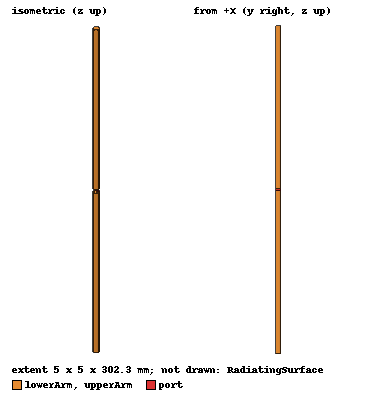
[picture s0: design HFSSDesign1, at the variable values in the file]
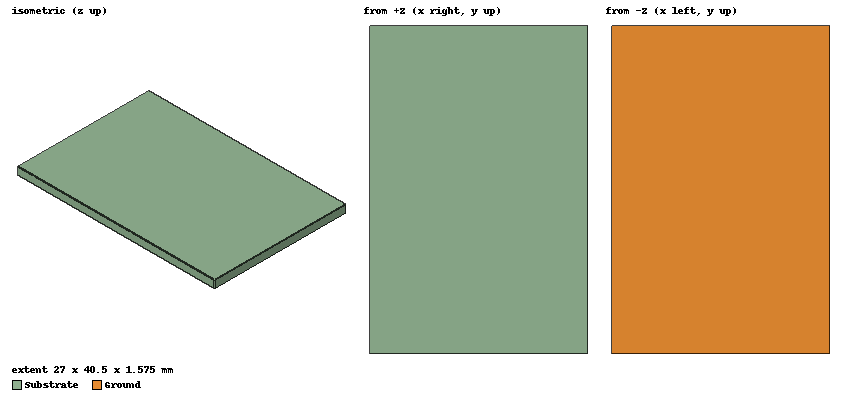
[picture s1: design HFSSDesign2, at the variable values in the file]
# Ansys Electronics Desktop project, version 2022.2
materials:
  vacuum: permittivity=1
  copper: permeability=0.999991 conductivity=58000000
  Duroid (tm): permittivity=2.2 dielectric_loss_tangent=0.0009

design HFSSDesign1 (HFSS, DrivenTerminal, model units mm)
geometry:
  upperArm [copper] = cylinder(axis=Z, base_centre=(0mm, 0mm, 1.25mm), radius=2.5mm, height=149.9mm)
  lowerArm [copper] = upperArm.duplicate_around_axis(axis=Z, angle=180deg, total=2)
  lowerArm.rotate(axis=X, angle=90deg)
  lowerArm.rotate(axis=X, angle=90deg)
  port = rectangle(corner=(0mm, -0.25cm, -0.25cm/2), y_size=2*0.25cm, z_size=0.25cm)
  RadiatingSurface [vacuum] = region(absolute_offset=111.11111mm on all sides)
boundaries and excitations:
  Open1: Radiation Objects=RadiatingSurface
  port_T1: Terminal port=1 Edges=port.edge(z opposite corner) TerminalResistance=50ohm
  1: Lumped Port Faces=port.face Impedance=50ohm
  reference conductors: lowerArm
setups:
  Setup1: HfssDriven Frequency=0.9GHz MaxDeltaS=0.02 MaximumPasses=10 MinimumPasses=1 MinimumConvergedPasses=1 PercentRefinement=30 BasisOrder=1 PortAccuracy=2 DrivenSolverType="Direct Solver"
    sweep Sweep: 0.45GHz to 1.35GHz, 401 points; Type=Interpolating InterpTolerance=0.5 InterpMaxSolns=250 PassivityErrorTolerance=0.0001
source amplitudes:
  1:1: 1V 0deg
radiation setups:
  3D: Infinite Sphere Theta=0deg..180deg step 2deg Phi=-180deg..180deg step 2deg
  Elevation: Infinite Sphere Theta=-180deg..180deg step 1deg Phi=0deg..90deg step 90deg
  Azimuth: Infinite Sphere Theta=90deg..90deg step 0deg Phi=-180deg..180deg step 1deg

design HFSSDesign2 (HFSS, DrivenTerminal, model units mm)
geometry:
  Substrate [Duroid (tm)] = box(corner=(0mm, 0mm, 0mm), size=(2.7cm, 4.05cm, 0.1575cm))
  Ground = rectangle(corner=(0mm, 0mm, 0mm), x_size=27mm, y_size=40.5mm)
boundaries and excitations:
  PerfE1: Perfect E Objects=Ground
